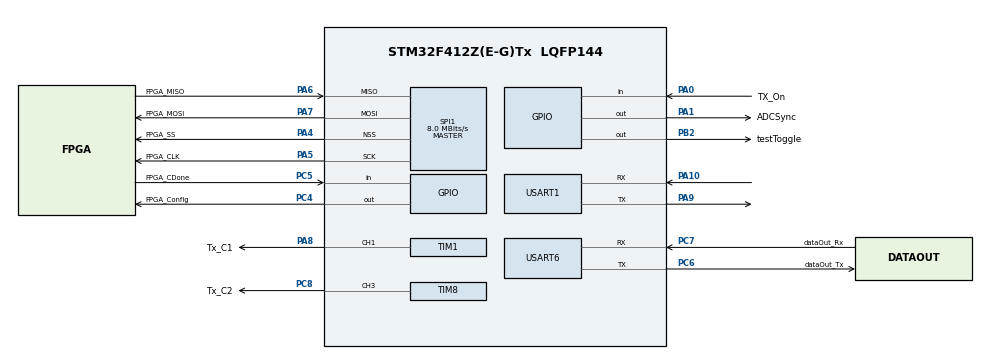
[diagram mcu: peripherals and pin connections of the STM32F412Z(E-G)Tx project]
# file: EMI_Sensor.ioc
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Mcu.Family=STM32F4
Mcu.Name=STM32F412Z(E-G)Tx
Mcu.Package=LQFP144
NVIC.PriorityGroup=NVIC_PRIORITYGROUP_4
PA0.GPIO_Label=TX_On
PA0.Signal=GPIO_Input
PA1.GPIO_Label=ADCSync
PA1.Signal=GPIO_Output
PA10.Mode=Asynchronous
PA10.Signal=USART1_RX
PA13.Mode=JTAG_5_pins
PA13.Signal=SYS_JTMS-SWDIO
PA14.Mode=JTAG_5_pins
PA14.Signal=SYS_JTCK-SWCLK
PA15.Mode=JTAG_5_pins
PA15.Signal=SYS_JTDI
PA4.GPIO_Label=FPGA_SS
PA4.Mode=NSS_Signal_Hard_Output
PA4.Signal=SPI1_NSS
PA5.GPIO_Label=FPGA_CLK
PA5.Mode=Full_Duplex_Master
PA5.Signal=SPI1_SCK
PA6.GPIO_Label=FPGA_MISO
PA6.Mode=Full_Duplex_Master
PA6.Signal=SPI1_MISO
PA7.GPIO_Label=FPGA_MOSI
PA7.Mode=Full_Duplex_Master
PA7.Signal=SPI1_MOSI
PA8.GPIO_Label=Tx_C1
PA8.Signal=S_TIM1_CH1
PA9.Mode=Asynchronous
PA9.Signal=USART1_TX
PB2.GPIO_Label=testToggle
PB2.Signal=GPIO_Output
PB3.Mode=JTAG_5_pins
PB3.Signal=SYS_JTDO-SWO
PB4.Mode=JTAG_5_pins
PB4.Signal=SYS_JTRST
PC4.GPIO_Label=FPGA_Config
PC4.Signal=GPIO_Output
PC5.GPIO_Label=FPGA_CDone
PC5.Signal=GPIO_Input
PC6.GPIO_Label=dataOut_Tx
PC6.Mode=Asynchronous
PC6.Signal=USART6_TX
PC7.GPIO_Label=dataOut_Rx
PC7.Mode=Asynchronous
PC7.Signal=USART6_RX
PC8.GPIO_Label=Tx_C2
PC8.Signal=S_TIM8_CH3
ProjectManager.HeapSize=0x200
ProjectManager.StackSize=0x400
ProjectManager.TargetToolchain=STM32CubeIDE
RCC.CortexFreq_Value=16000000
RCC.USBFreq_Value=96000000
RCC.VCOOutputFreq_Value=192000000
SH.S_TIM1_CH1.0=TIM1_CH1,PWM Generation1 CH1
SH.S_TIM8_CH3.0=TIM8_CH3,PWM Generation3 CH3
SPI1.CalculateBaudRate=8.0 MBits/s
SPI1.Direction=SPI_DIRECTION_2LINES
SPI1.Mode=SPI_MODE_MASTER
SPI1.VirtualNSS=VM_NSSHARD
SPI1.VirtualType=VM_MASTER
TIM1.Channel-PWM\ Generation1\ CH1=TIM_CHANNEL_1
TIM8.Channel-PWM\ Generation3\ CH3=TIM_CHANNEL_3
USART1.VirtualMode=VM_ASYNC
USART6.VirtualMode=VM_ASYNC
board=custom

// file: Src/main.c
/* USER CODE BEGIN Header */
/**
  ******************************************************************************
  * @file           : main.c
  * @brief          : Main program body
  ******************************************************************************
  * @attention
  *
  * <h2><center>&copy; Copyright (c) 2019 STMicroelectronics.
  * All rights reserved.<center></h2>
  *
  * This software component is licensed by ST under BSD 3-Clause license,
  * the "License"; You may not use this file except in compliance with the
  * License. You may obtain a copy of the License at:
  *                        opensource.org/licenses/BSD-3-Clause
  *
  ******************************************************************************
  */
/* USER CODE END Header */

#include "main.h"

/* USER CODE BEGIN Includes */
#include "FPGAImage.h"
#include "string.h"

/* USER CODE END Includes */

SPI_HandleTypeDef hspi1;

TIM_HandleTypeDef htim1;
TIM_HandleTypeDef htim8;

UART_HandleTypeDef huart1;
UART_HandleTypeDef huart6;

void SystemClock_Config(void);
static void MX_GPIO_Init(void);
static void MX_SPI1_Init(void);
static void MX_TIM1_Init(void);
static void MX_TIM8_Init(void);
static void MX_USART1_UART_Init(void);
static void MX_USART6_UART_Init(void);
/* USER CODE BEGIN PFP */
static void FPGA_Programming(void);
void debugPrintln(char *ptr);
void setWidthTxOne( char width );
void setWidthTxTwo( char width );

/* USER CODE END PFP */

/* USER CODE BEGIN 0 */
char successFPGA = 0;
char duty = 0;

/* USER CODE END 0 */

int main(void)
{

  /* MCU Configuration--------------------------------------------------------*/

  /* Reset of all peripherals, Initializes the Flash interface and the Systick. */
  HAL_Init();

  /* Configure the system clock */
  SystemClock_Config();

  /* Initialize all configured peripherals */
  MX_GPIO_Init();
  MX_SPI1_Init();
  MX_TIM1_Init();
  MX_TIM8_Init();
  MX_USART1_UART_Init();
  MX_USART6_UART_Init();
  /* USER CODE BEGIN 2 */
  FPGA_Programming();
  HAL_TIM_PWM_Start(&htim1,TIM_CHANNEL_1);
  HAL_TIM_PWM_Start(&htim8,TIM_CHANNEL_3);
  htim1.Instance->CCR1 = 64;
  htim8.Instance->CCR3 = 55;

  /* USER CODE END 2 */

  /* Infinite loop */
  while (1)
  {
	  //HAL_Delay(1000);
	  //HAL_GPIO_TogglePin(FPGA_SS_GPIO_Port,FPGA_SS_Pin);
	  //HAL_GPIO_TogglePin(testToggle_GPIO_Port,testToggle_Pin);
	  debugPrintln("Test: 1");
	  //if(HAL_GPIO_ReadPin(TX_On_GPIO_Port,TX_On_Pin)){
	//	  debugPrintln("toggle");
	 // }
	  while(duty<255){
		//  htim1.Instance->CCR1 = duty;
		 // htim8.Instance->CCR3 = duty;
		  duty +=20;
		  debugPrintln("Test: 2");
		  HAL_Delay(500);
	  }
	  duty = 0;

  }
}

void SystemClock_Config(void)
{
  RCC_OscInitTypeDef RCC_OscInitStruct = {0};
  RCC_ClkInitTypeDef RCC_ClkInitStruct = {0};

  /** Configure the main internal regulator output voltage
  */
  __HAL_RCC_PWR_CLK_ENABLE();
  __HAL_PWR_VOLTAGESCALING_CONFIG(PWR_REGULATOR_VOLTAGE_SCALE1);
  /** Initializes the CPU, AHB and APB busses clocks
  */
  RCC_OscInitStruct.OscillatorType = RCC_OSCILLATORTYPE_HSI;
  RCC_OscInitStruct.HSIState = RCC_HSI_ON;
  RCC_OscInitStruct.HSICalibrationValue = RCC_HSICALIBRATION_DEFAULT;
  RCC_OscInitStruct.PLL.PLLState = RCC_PLL_NONE;
  if (HAL_RCC_OscConfig(&RCC_OscInitStruct) != HAL_OK)
  {
    Error_Handler();
  }
  /** Initializes the CPU, AHB and APB busses clocks
  */
  RCC_ClkInitStruct.ClockType = RCC_CLOCKTYPE_HCLK|RCC_CLOCKTYPE_SYSCLK
                              |RCC_CLOCKTYPE_PCLK1|RCC_CLOCKTYPE_PCLK2;
  RCC_ClkInitStruct.SYSCLKSource = RCC_SYSCLKSOURCE_HSI;
  RCC_ClkInitStruct.AHBCLKDivider = RCC_SYSCLK_DIV1;
  RCC_ClkInitStruct.APB1CLKDivider = RCC_HCLK_DIV1;
  RCC_ClkInitStruct.APB2CLKDivider = RCC_HCLK_DIV1;

  if (HAL_RCC_ClockConfig(&RCC_ClkInitStruct, FLASH_LATENCY_0) != HAL_OK)
  {
    Error_Handler();
  }
}

static void MX_SPI1_Init(void)
{

  /* SPI1 parameter configuration*/
  hspi1.Instance = SPI1;
  hspi1.Init.Mode = SPI_MODE_MASTER;
  hspi1.Init.Direction = SPI_DIRECTION_2LINES;
  hspi1.Init.DataSize = SPI_DATASIZE_8BIT;
  hspi1.Init.CLKPolarity = SPI_POLARITY_LOW;
  hspi1.Init.CLKPhase = SPI_PHASE_1EDGE;
  hspi1.Init.NSS = SPI_NSS_HARD_OUTPUT;
  hspi1.Init.BaudRatePrescaler = SPI_BAUDRATEPRESCALER_2;
  hspi1.Init.FirstBit = SPI_FIRSTBIT_MSB;
  hspi1.Init.TIMode = SPI_TIMODE_DISABLE;
  hspi1.Init.CRCCalculation = SPI_CRCCALCULATION_DISABLE;
  hspi1.Init.CRCPolynomial = 10;
  if (HAL_SPI_Init(&hspi1) != HAL_OK)
  {
    Error_Handler();
  }

}

static void MX_TIM1_Init(void)
{

  TIM_MasterConfigTypeDef sMasterConfig = {0};
  TIM_OC_InitTypeDef sConfigOC = {0};
  TIM_BreakDeadTimeConfigTypeDef sBreakDeadTimeConfig = {0};

  htim1.Instance = TIM1;
  htim1.Init.Prescaler = 350;
  htim1.Init.CounterMode = TIM_COUNTERMODE_DOWN;
  htim1.Init.Period = 120;
  htim1.Init.ClockDivision = TIM_CLOCKDIVISION_DIV1;
  htim1.Init.RepetitionCounter = 0;
  htim1.Init.AutoReloadPreload = TIM_AUTORELOAD_PRELOAD_DISABLE;
  if (HAL_TIM_PWM_Init(&htim1) != HAL_OK)
  {
    Error_Handler();
  }
  sMasterConfig.MasterOutputTrigger = TIM_TRGO_RESET;
  sMasterConfig.MasterSlaveMode = TIM_MASTERSLAVEMODE_DISABLE;
  if (HAL_TIMEx_MasterConfigSynchronization(&htim1, &sMasterConfig) != HAL_OK)
  {
    Error_Handler();
  }
  sConfigOC.OCMode = TIM_OCMODE_PWM1;
  sConfigOC.Pulse = 0;
  sConfigOC.OCPolarity = TIM_OCPOLARITY_HIGH;
  sConfigOC.OCNPolarity = TIM_OCNPOLARITY_HIGH;
  sConfigOC.OCFastMode = TIM_OCFAST_DISABLE;
  sConfigOC.OCIdleState = TIM_OCIDLESTATE_RESET;
  sConfigOC.OCNIdleState = TIM_OCNIDLESTATE_RESET;
  if (HAL_TIM_PWM_ConfigChannel(&htim1, &sConfigOC, TIM_CHANNEL_1) != HAL_OK)
  {
    Error_Handler();
  }
  sBreakDeadTimeConfig.OffStateRunMode = TIM_OSSR_DISABLE;
  sBreakDeadTimeConfig.OffStateIDLEMode = TIM_OSSI_DISABLE;
  sBreakDeadTimeConfig.LockLevel = TIM_LOCKLEVEL_OFF;
  sBreakDeadTimeConfig.DeadTime = 0;
  sBreakDeadTimeConfig.BreakState = TIM_BREAK_DISABLE;
  sBreakDeadTimeConfig.BreakPolarity = TIM_BREAKPOLARITY_HIGH;
  sBreakDeadTimeConfig.AutomaticOutput = TIM_AUTOMATICOUTPUT_DISABLE;
  if (HAL_TIMEx_ConfigBreakDeadTime(&htim1, &sBreakDeadTimeConfig) != HAL_OK)
  {
    Error_Handler();
  }
  HAL_TIM_MspPostInit(&htim1);

}

static void MX_TIM8_Init(void)
{

  TIM_MasterConfigTypeDef sMasterConfig = {0};
  TIM_OC_InitTypeDef sConfigOC = {0};
  TIM_BreakDeadTimeConfigTypeDef sBreakDeadTimeConfig = {0};

  htim8.Instance = TIM8;
  htim8.Init.Prescaler = 350;
  htim8.Init.CounterMode = TIM_COUNTERMODE_UP;
  htim8.Init.Period = 120;
  htim8.Init.ClockDivision = TIM_CLOCKDIVISION_DIV1;
  htim8.Init.RepetitionCounter = 0;
  htim8.Init.AutoReloadPreload = TIM_AUTORELOAD_PRELOAD_DISABLE;
  if (HAL_TIM_PWM_Init(&htim8) != HAL_OK)
  {
    Error_Handler();
  }
  sMasterConfig.MasterOutputTrigger = TIM_TRGO_RESET;
  sMasterConfig.MasterSlaveMode = TIM_MASTERSLAVEMODE_DISABLE;
  if (HAL_TIMEx_MasterConfigSynchronization(&htim8, &sMasterConfig) != HAL_OK)
  {
    Error_Handler();
  }
  sConfigOC.OCMode = TIM_OCMODE_PWM1;
  sConfigOC.Pulse = 0;
  sConfigOC.OCPolarity = TIM_OCPOLARITY_HIGH;
  sConfigOC.OCNPolarity = TIM_OCNPOLARITY_HIGH;
  sConfigOC.OCFastMode = TIM_OCFAST_DISABLE;
  sConfigOC.OCIdleState = TIM_OCIDLESTATE_RESET;
  sConfigOC.OCNIdleState = TIM_OCNIDLESTATE_RESET;
  if (HAL_TIM_PWM_ConfigChannel(&htim8, &sConfigOC, TIM_CHANNEL_3) != HAL_OK)
  {
    Error_Handler();
  }
  sBreakDeadTimeConfig.OffStateRunMode = TIM_OSSR_DISABLE;
  sBreakDeadTimeConfig.OffStateIDLEMode = TIM_OSSI_DISABLE;
  sBreakDeadTimeConfig.LockLevel = TIM_LOCKLEVEL_OFF;
  sBreakDeadTimeConfig.DeadTime = 0;
  sBreakDeadTimeConfig.BreakState = TIM_BREAK_DISABLE;
  sBreakDeadTimeConfig.BreakPolarity = TIM_BREAKPOLARITY_HIGH;
  sBreakDeadTimeConfig.AutomaticOutput = TIM_AUTOMATICOUTPUT_DISABLE;
  if (HAL_TIMEx_ConfigBreakDeadTime(&htim8, &sBreakDeadTimeConfig) != HAL_OK)
  {
    Error_Handler();
  }
  HAL_TIM_MspPostInit(&htim8);

}

static void MX_USART1_UART_Init(void)
{

  huart1.Instance = USART1;
  huart1.Init.BaudRate = 115200;
  huart1.Init.WordLength = UART_WORDLENGTH_8B;
  huart1.Init.StopBits = UART_STOPBITS_1;
  huart1.Init.Parity = UART_PARITY_NONE;
  huart1.Init.Mode = UART_MODE_TX_RX;
  huart1.Init.HwFlowCtl = UART_HWCONTROL_NONE;
  huart1.Init.OverSampling = UART_OVERSAMPLING_16;
  if (HAL_UART_Init(&huart1) != HAL_OK)
  {
    Error_Handler();
  }

}

static void MX_USART6_UART_Init(void)
{

  huart6.Instance = USART6;
  huart6.Init.BaudRate = 115200;
  huart6.Init.WordLength = UART_WORDLENGTH_8B;
  huart6.Init.StopBits = UART_STOPBITS_1;
  huart6.Init.Parity = UART_PARITY_NONE;
  huart6.Init.Mode = UART_MODE_TX_RX;
  huart6.Init.HwFlowCtl = UART_HWCONTROL_NONE;
  huart6.Init.OverSampling = UART_OVERSAMPLING_16;
  if (HAL_UART_Init(&huart6) != HAL_OK)
  {
    Error_Handler();
  }

}

static void MX_GPIO_Init(void)
{
  GPIO_InitTypeDef GPIO_InitStruct = {0};

  /* GPIO Ports Clock Enable */
  __HAL_RCC_GPIOA_CLK_ENABLE();
  __HAL_RCC_GPIOC_CLK_ENABLE();
  __HAL_RCC_GPIOB_CLK_ENABLE();

  /*Configure GPIO pin Output Level */
  HAL_GPIO_WritePin(ADCSync_GPIO_Port, ADCSync_Pin, GPIO_PIN_RESET);

  /*Configure GPIO pin Output Level */
  HAL_GPIO_WritePin(FPGA_Config_GPIO_Port, FPGA_Config_Pin, GPIO_PIN_RESET);

  /*Configure GPIO pin : TX_On_Pin */
  GPIO_InitStruct.Pin = TX_On_Pin;
  GPIO_InitStruct.Mode = GPIO_MODE_INPUT;
  GPIO_InitStruct.Pull = GPIO_NOPULL;
  HAL_GPIO_Init(TX_On_GPIO_Port, &GPIO_InitStruct);

  /*Configure GPIO pin : ADCSync_Pin */
  GPIO_InitStruct.Pin = ADCSync_Pin;
  GPIO_InitStruct.Mode = GPIO_MODE_OUTPUT_PP;
  GPIO_InitStruct.Pull = GPIO_NOPULL;
  GPIO_InitStruct.Speed = GPIO_SPEED_FREQ_LOW;
  HAL_GPIO_Init(ADCSync_GPIO_Port, &GPIO_InitStruct);

  /*Configure GPIO pin : FPGA_Config_Pin */
  GPIO_InitStruct.Pin = FPGA_Config_Pin;
  GPIO_InitStruct.Mode = GPIO_MODE_OUTPUT_PP;
  GPIO_InitStruct.Pull = GPIO_NOPULL;
  GPIO_InitStruct.Speed = GPIO_SPEED_FREQ_LOW;
  HAL_GPIO_Init(FPGA_Config_GPIO_Port, &GPIO_InitStruct);

  /*Configure GPIO pin : FPGA_CDone_Pin */
  GPIO_InitStruct.Pin = FPGA_CDone_Pin;
  GPIO_InitStruct.Mode = GPIO_MODE_INPUT;
  GPIO_InitStruct.Pull = GPIO_NOPULL;
  HAL_GPIO_Init(FPGA_CDone_GPIO_Port, &GPIO_InitStruct);

  /*Configure GPIO pin : testToggle_Pin */
  GPIO_InitStruct.Pin = testToggle_Pin;
  GPIO_InitStruct.Mode = GPIO_MODE_OUTPUT_PP;
  GPIO_InitStruct.Pull = GPIO_NOPULL;
  GPIO_InitStruct.Speed = GPIO_SPEED_FREQ_LOW;
  HAL_GPIO_Init(testToggle_GPIO_Port, &GPIO_InitStruct);

}

/* USER CODE BEGIN 4 */

void debugPrintln( char *ptr){
	int len = strlen(ptr);
	for(int i=0; i<len; i++){
		ITM_SendChar( (*ptr++) );
	}
	ITM_SendChar(10);
}

/* This is a function to program the in cuircuit FPGA
 * This Function must be call once at during Init of uC or FPGA and ADCs will not work!
 * FPGA Config file must be loaded onto uC and Config file must not set to Cold or Warm boot
 * for more information see: Lattice Semiconductor FPGA-TN-02001-3.1, section 13
 */

static void FPGA_Programming(void){

	char FPGA_TimeOut = 0; // Error timeout
	uint8_t dummyBits[7];
	// loads dummy bits to be transmitted
	for(char i = 0; i < 8; i++){
		dummyBits[i] = 0b01010101;
	}

	/* Write FPGA config pin and SS to low for at least 200 ns to reset and start FPGA
	 * in SPI Slave Configuration
	 */
	HAL_GPIO_WritePin(FPGA_Config_GPIO_Port, FPGA_Config_Pin, GPIO_PIN_RESET);
	HAL_GPIO_WritePin(FPGA_SS_GPIO_Port,FPGA_SS_Pin, GPIO_PIN_RESET);
	HAL_GPIO_WritePin(FPGA_CLK_GPIO_Port,FPGA_CLK_Pin, GPIO_PIN_SET);
	HAL_Delay(1);
	HAL_GPIO_WritePin(FPGA_Config_GPIO_Port, FPGA_Config_Pin, GPIO_PIN_SET); // Set high to turn on FPGA THIS PIN SHOULD STAY HIGH!
	HAL_Delay(2); // Wait for FPGA to clear sys memory
	// Send 8 dummy bits
	HAL_GPIO_WritePin(FPGA_SS_GPIO_Port,FPGA_SS_Pin, GPIO_PIN_SET);
	HAL_SPI_Transmit(&hspi1, dummyBits, 1, 50);
	// SEND FPGA CONFIG FILE
	HAL_GPIO_WritePin(FPGA_SS_GPIO_Port,FPGA_SS_Pin, GPIO_PIN_RESET);
	for (int i = 0; i <= FPGAImSize; i++){
		HAL_SPI_Transmit(&hspi1, FPGAIma[i], 1, 50);
	}
	HAL_GPIO_WritePin(FPGA_SS_GPIO_Port,FPGA_SS_Pin, GPIO_PIN_SET);
	while(!HAL_GPIO_ReadPin(FPGA_CDone_GPIO_Port, FPGA_CDone_Pin) && FPGA_TimeOut <= 6){ // wait for CDone to go high
		HAL_Delay(1);
		if (FPGA_TimeOut == 5){
			//Print error message to debugger
			debugPrintln("Error FPGA");
		}
		FPGA_TimeOut++;
	}
	if (FPGA_TimeOut < 6){
		HAL_GPIO_WritePin(FPGA_SS_GPIO_Port,FPGA_SS_Pin, GPIO_PIN_RESET);
		HAL_SPI_Transmit(&hspi1, dummyBits, 7, HAL_MAX_DELAY );
		HAL_GPIO_WritePin(FPGA_SS_GPIO_Port,FPGA_SS_Pin, GPIO_PIN_SET);
		// Print success message
		successFPGA = 1;
		debugPrintln("FPGA success");
	}

}

/* Function to set the Pulse width of the PWM for Tx1 */
/*
void setWidthTxOne( char width ){
	sConfigOC.Pulse = width;
}

void setWidthTxOne( char width ){

}
*/
/* USER CODE END 4 */

void Error_Handler(void)
{
  /* USER CODE BEGIN Error_Handler_Debug */
  /* User can add his own implementation to report the HAL error return state */
	debugPrintln("ERROR In Code!");
  /* USER CODE END Error_Handler_Debug */
}

/************************ (C) COPYRIGHT STMicroelectronics *****END OF FILE****/
